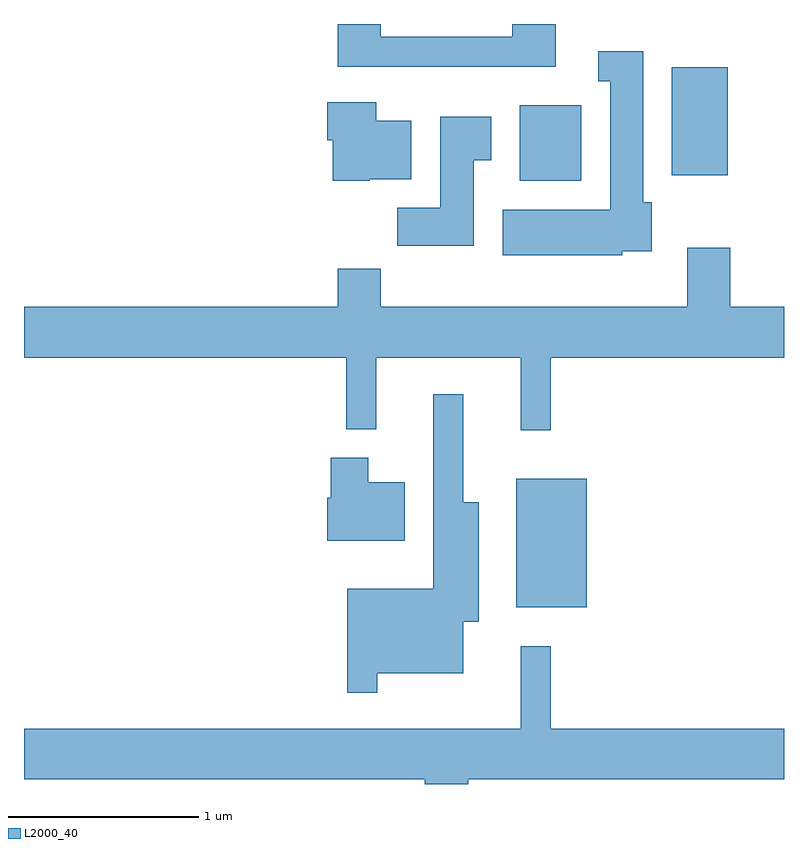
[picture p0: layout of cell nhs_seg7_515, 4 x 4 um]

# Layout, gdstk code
import gdstk
lib = gdstk.Library(unit=1e-6, precision=1e-09)
def R(c, l, rs):  # rectangles x0, y0, x1, y1
    for r in rs: c.add(gdstk.rectangle(r[:2], r[2:], *l))
def P(c, l, *ps):  # polygons
    for p in ps: c.add(gdstk.Polygon(p, *l))
L2000_40 = (2000, 40)

nhs_seg7_515 = lib.new_cell('nhs_seg7_515')
R(nhs_seg7_515, L2000_40, [(202.201,1755.181,202.574,1755.859), (202.221,1757.426,202.544,1757.824), (203.021,1757.456,203.314,1758.024)])
P(nhs_seg7_515, L2000_40, [(202.409,1758.252),(202.181,1758.252),(202.181,1758.184),(201.489,1758.184),(201.489,1758.252),(201.261,1758.252),(201.261,1758.026),(202.409,1758.026)],
  [(202.759,1757.056),(202.914,1757.056),(202.914,1757.314),(202.869,1757.314),(202.869,1758.109),(202.633,1758.109),(202.633,1757.951),(202.696,1757.951),(202.696,1757.274),(202.131,1757.274),(202.131,1757.036),(202.759,1757.036)],
  [(201.43,1757.436),(201.649,1757.436),(201.649,1757.744),(201.464,1757.744),(201.464,1757.839),(201.206,1757.839),(201.206,1757.641),(201.236,1757.641),(201.236,1757.426),(201.43,1757.426)],
  [(201.979,1757.536),(202.069,1757.536),(202.069,1757.764),(201.801,1757.764),(201.801,1757.284),(201.576,1757.284),(201.576,1757.086),(201.979,1757.086)],
  [(202.384,1756.496),(203.611,1756.496),(203.611,1756.764),(203.329,1756.764),(203.329,1757.074),(203.101,1757.074),(203.101,1756.764),(201.489,1756.764),(201.489,1756.964),(201.261,1756.964),(201.261,1756.764),(199.611,1756.764),(199.611,1756.496),(201.306,1756.496),(201.306,1756.118),(201.464,1756.118),(201.464,1756.496),(202.226,1756.496),(202.226,1756.113),(202.384,1756.113)],
  [(201.469,1754.836),(201.924,1754.836),(201.924,1755.106),(202.004,1755.106),(202.004,1755.734),(201.924,1755.734),(201.924,1756.303),(201.766,1756.303),(201.766,1755.279),(201.311,1755.279),(201.311,1754.733),(201.469,1754.733)],
  [(201.614,1755.839),(201.424,1755.839),(201.424,1755.969),(201.226,1755.969),(201.226,1755.759),(201.206,1755.759),(201.206,1755.531),(201.614,1755.531)],
  [(201.949,1754.276),(203.611,1754.276),(203.611,1754.544),(202.384,1754.544),(202.384,1754.978),(202.226,1754.978),(202.226,1754.544),(199.611,1754.544),(199.611,1754.276),(201.721,1754.276),(201.721,1754.252),(201.949,1754.252)])

lib.write_gds('nhs_seg7_515.gds')
